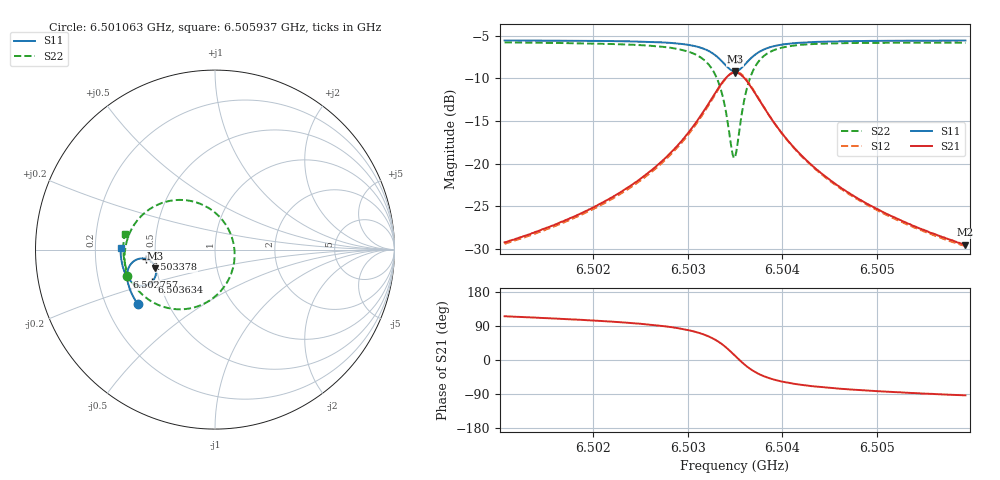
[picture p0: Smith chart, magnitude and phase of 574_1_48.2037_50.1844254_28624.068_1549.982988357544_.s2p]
#  HZ  S  RI  R  50.00
! Rohde & Schwarz Vector Network Analyzer
! Rohde-Schwarz,ZNB20-2Port,1311601062101988,3.16
! Created: UTC 3/20/2024, 12:01:48 PM
! freq[Hz]  re:S11  im:S11  re:S21  im:S21  re:S12  im:S12  re:S22  im:S22
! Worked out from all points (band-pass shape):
!   401 points, 6.501063 GHz to 6.505937 GHz, reference 50 ohm
!   highest |S21| = -9.32 dB at 6.5035 GHz (marker M1); lowest = -29.5 dB at 6.505937 GHz (marker M2)
!   |S21| within 3 dB of the highest: 6.503257 GHz to 6.503744 GHz (486.9 kHz wide, 0.00749 % of centre)
!   lowest |S11| = -9.2 dB at 6.5035 GHz (marker M3), VSWR 2.06, Z = 24.7 - j5.77 ohm
!   |S11| at or under -10 dB: nowhere
!   |S22| runs from -19.3 to -5.8 dB; largest |S21 - S12| = 0.012
!   S11 on the Smith chart (normalised r, x): 6.501063 GHz: 0.34, -0.28; 6.502757 GHz: 0.33, -0.13; 6.503378 GHz: 0.44, -0.05; 6.503634 GHz: 0.45, -0.19; 6.505937 GHz: 0.31, +0.01
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6.5010632e9  -0.4313 -0.303  -0.0149 0.0312  -0.0131 0.0313  -0.4924 -0.1456
6.5018796e9  -0.4657 -0.2416  -0.0141 0.0494  -0.0116 0.049  -0.5038 -0.057
6.5023305e9  -0.4811 -0.2009  -0.0108 0.0695  -0.00785 0.0683  -0.4996 0.0088
6.502696e9  -0.4892 -0.1593  -0.00126 0.0996  0.0023 0.0973  -0.4789 0.0845
6.5027569e9  -0.4897 -0.1511  0.00187 0.1071  0.00558 0.1044  -0.4717 0.1005
6.5029763e9  -0.486 -0.1159  0.0241 0.1426  0.0276 0.1383  -0.4252 0.1716
6.5031347e9  -0.4712 -0.0837  0.0639 0.179  0.0666 0.1731  -0.3481 0.2353
6.5032809e9  -0.4329 -0.0538  0.1461 0.208  0.1468 0.202  -0.1983 0.2769
6.5033296e9  -0.4115 -0.049  0.189 0.2067  0.1891 0.2012  -0.1232 0.2682
6.5033784e9  -0.386 -0.051  0.2383 0.1914  0.2385 0.1869  -0.0386 0.2337
6.5034637e9  -0.3426 -0.0804  0.3175 0.1162  0.32 0.1123  0.0878 0.0857
6.5035002e9  -0.3315 -0.1029  0.3354 0.0669  0.3393 0.0619  0.1089 -0.00654
6.5035246e9  -0.3286 -0.1192  0.3388 0.0319  0.3431 0.0256  0.1066 -0.0706
6.5035611e9  -0.3307 -0.1436  0.3315 -0.0189  0.3354 -0.0275  0.0792 -0.1605
6.5036343e9  -0.3531 -0.1812  0.2844 -0.096  0.2846 -0.1073  -0.032 -0.2852
6.5037439e9  -0.3993 -0.2017  0.1964 -0.1417  0.1914 -0.1516  -0.21 -0.3324
6.5039023e9  -0.4468 -0.1923  0.1116 -0.1378  0.1047 -0.1431  -0.3627 -0.2834
6.5040729e9  -0.4751 -0.1708  0.0656 -0.1165  0.0594 -0.119  -0.4369 -0.2163
6.5043166e9  -0.496 -0.1409  0.0348 -0.0911  0.0301 -0.0917  -0.4814 -0.1425
6.5046944e9  -0.5122 -0.1009  0.0149 -0.0663  0.0117 -0.066  -0.5046 -0.0645
6.505133e9  -0.5213 -0.0598  0.00512 -0.0497  0.00296 -0.0491  -0.5106 -0.000827
6.5059372e9  -0.5263 0.00887  -0.0019 -0.0334  -0.00325 -0.0327  -0.5033 0.0859
